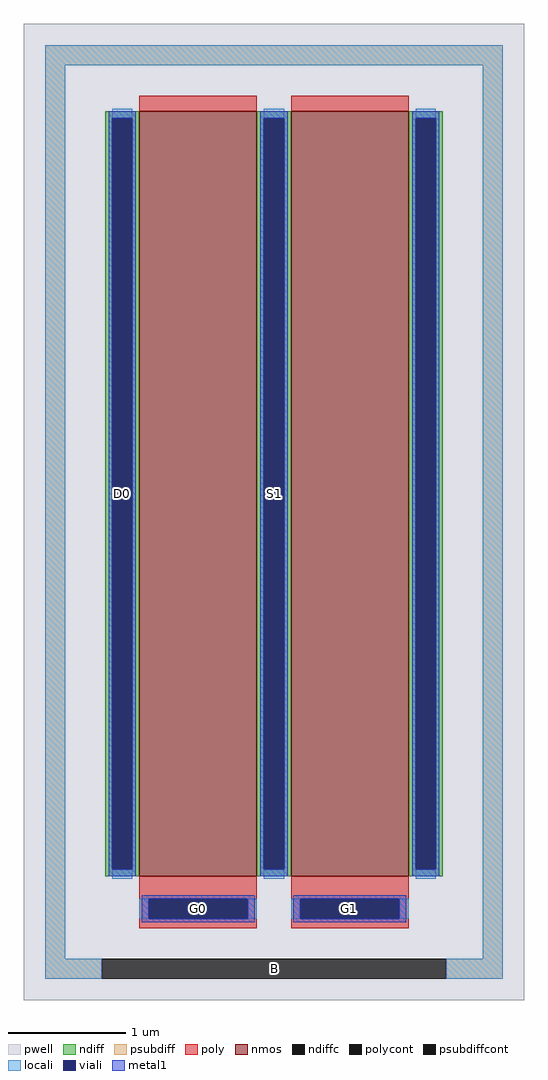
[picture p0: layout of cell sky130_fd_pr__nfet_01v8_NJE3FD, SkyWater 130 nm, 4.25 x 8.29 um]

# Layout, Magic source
magic
tech sky130A
magscale 1 2
<< pwell >>
rect -425 -829 425 829
<< nmos >>
rect -229 -619 -29 681
rect 29 -619 229 681
<< ndiff >>
rect -287 669 -229 681
rect -287 -607 -275 669
rect -241 -607 -229 669
rect -287 -619 -229 -607
rect -29 669 29 681
rect -29 -607 -17 669
rect 17 -607 29 669
rect -29 -619 29 -607
rect 229 669 287 681
rect 229 -607 241 669
rect 275 -607 287 669
rect 229 -619 287 -607
<< ndiffc >>
rect -275 -607 -241 669
rect -17 -607 17 669
rect 241 -607 275 669
<< psubdiff >>
rect -389 759 389 793
rect -389 -759 -355 759
rect 355 -759 389 759
rect -389 -793 -293 -759
rect 293 -793 389 -759
<< psubdiffcont >>
rect -293 -793 293 -759
<< poly >>
rect -229 681 -29 707
rect 29 681 229 707
rect -229 -657 -29 -619
rect -229 -691 -213 -657
rect -45 -691 -29 -657
rect -229 -707 -29 -691
rect 29 -657 229 -619
rect 29 -691 45 -657
rect 213 -691 229 -657
rect 29 -707 229 -691
<< polycont >>
rect -213 -691 -45 -657
rect 45 -691 213 -657
<< locali >>
rect -389 759 389 793
rect -389 -759 -355 759
rect -275 669 -241 685
rect -275 -623 -241 -607
rect -17 669 17 685
rect -17 -623 17 -607
rect 241 669 275 685
rect 241 -623 275 -607
rect -229 -691 -213 -657
rect -45 -691 -29 -657
rect 29 -691 45 -657
rect 213 -691 229 -657
rect 355 -759 389 759
rect -389 -793 -293 -759
rect 293 -793 389 -759
<< viali >>
rect -275 -607 -241 669
rect -17 -607 17 669
rect 241 -607 275 669
rect -213 -691 -45 -657
rect 45 -691 213 -657
<< metal1 >>
rect -281 669 -235 681
rect -281 -607 -275 669
rect -241 -607 -235 669
rect -281 -619 -235 -607
rect -23 669 23 681
rect -23 -607 -17 669
rect 17 -607 23 669
rect -23 -619 23 -607
rect 235 669 281 681
rect 235 -607 241 669
rect 275 -607 281 669
rect 235 -619 281 -607
rect -225 -657 -33 -651
rect -225 -691 -213 -657
rect -45 -691 -33 -657
rect -225 -697 -33 -691
rect 33 -657 225 -651
rect 33 -691 45 -657
rect 213 -691 225 -657
rect 33 -697 225 -691
<< labels >>
rlabel psubdiffcont 0 -776 0 -776 0 B
port 1 nsew
rlabel ndiffc -258 31 -258 31 0 D0
port 2 nsew
rlabel polycont -129 -674 -129 -674 0 G0
port 3 nsew
rlabel ndiffc 0 31 0 31 0 S1
port 4 nsew
rlabel polycont 129 -674 129 -674 0 G1
port 5 nsew
<< properties >>
string FIXED_BBOX -372 -776 372 776
string gencell sky130_fd_pr__nfet_01v8
string library sky130
string parameters w 6.5 l 1.0 m 1 nf 2 diffcov 100 polycov 100 guard 1 glc 0 grc 0 gtc 0 gbc 1 tbcov 100 rlcov 100 topc 0 botc 1 poverlap 0 doverlap 1 lmin 0.15 wmin 0.42 class mosfet compatible {sky130_fd_pr__nfet_01v8 sky130_fd_pr__nfet_01v8_lvt  sky130_fd_bs_flash__special_sonosfet_star  sky130_fd_pr__nfet_g5v0d10v5 sky130_fd_pr__nfet_05v0_nvt  sky130_fd_pr__nfet_03v3_nvt} full_metal 1 conn_gates 0 viasrc 100 viadrn 100 viagate 100 viagb 0 viagr 0 viagl 0 viagt 0 doports 1
<< end >>
